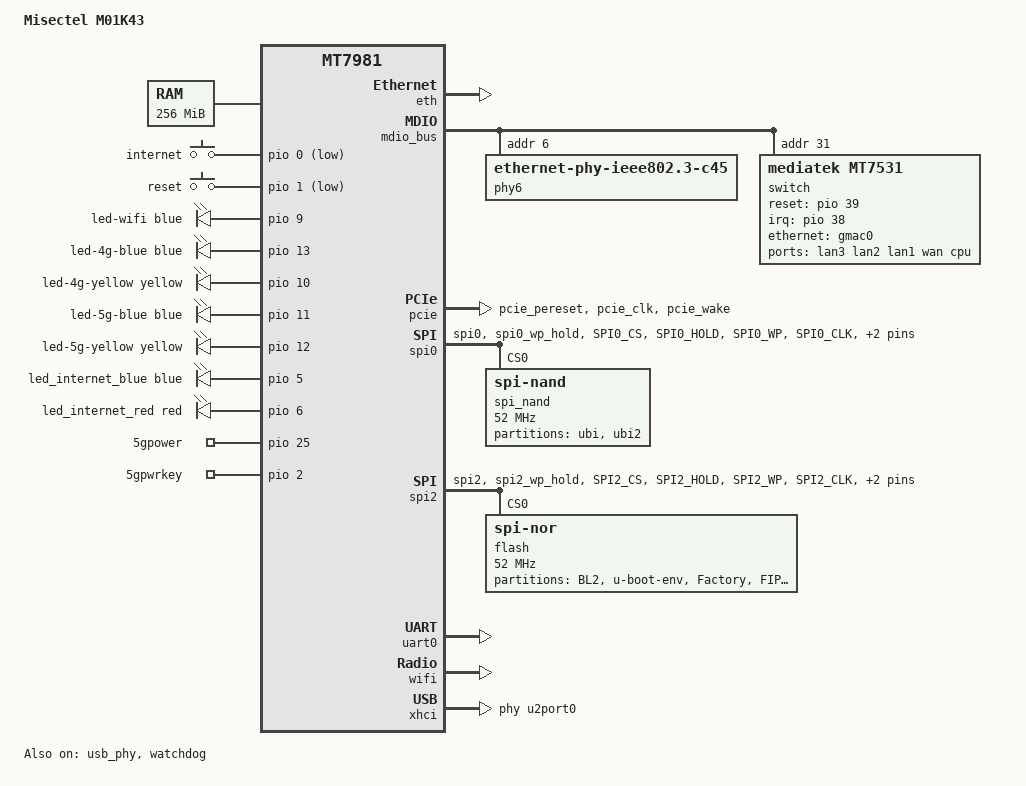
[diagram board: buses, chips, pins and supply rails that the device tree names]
// SPDX-License-Identifier: GPL-2.0-or-later OR MIT
/dts-v1/;

#include <dt-bindings/gpio/gpio.h>
#include <dt-bindings/input/input.h>
#include <dt-bindings/interrupt-controller/irq.h>
#include <dt-bindings/leds/common.h>
#include <dt-bindings/pinctrl/mt65xx.h>

#include "mt7981b.dtsi"

/ {
	model = "Misectel M01K43";
	compatible = "misectel,m01k43", "mediatek,mt7981";

	aliases {
		led-boot = &led_internet_blue;
		led-failsafe = &led_internet_red;
		led-running = &led_internet_blue;
		led-upgrade = &led_internet_red;
		label-mac-device = &gmac0;
		serial0 = &uart0;
	};

	chosen {
		stdout-path = "serial0:115200n8";
		bootargs-append = " ubi.mtd=ubi";
	};

	memory@40000000 {
		reg = <0 0x40000000 0 0x10000000>;
	};

	gpio-keys {
		compatible = "gpio-keys";

		button-internet {
			label = "internet";
			linux,code = <BTN_0>;
			linux,input-type = <EV_SW>;
			gpios = <&pio 0 GPIO_ACTIVE_LOW>;
		};

		button-reset {
			label = "reset";
			linux,code = <KEY_RESTART>;
			gpios = <&pio 1 GPIO_ACTIVE_LOW>;
		};
	};

	leds {
		compatible = "gpio-leds";

		led-wifi {
			color = <LED_COLOR_ID_BLUE>;
			function = LED_FUNCTION_WLAN;
			gpios = <&pio 9 GPIO_ACTIVE_HIGH>;
		};

		led-4g-blue {
			color = <LED_COLOR_ID_BLUE>;
			function = "4g";
			gpios = <&pio 13 GPIO_ACTIVE_HIGH>;
		};

		led-4g-yellow {
			color = <LED_COLOR_ID_YELLOW>;
			function = "4g";
			gpios = <&pio 10 GPIO_ACTIVE_HIGH>;
		};

		led-5g-blue {
			color = <LED_COLOR_ID_BLUE>;
			function = "5g";
			gpios = <&pio 11 GPIO_ACTIVE_HIGH>;
		};

		led-5g-yellow {
			color = <LED_COLOR_ID_YELLOW>;
			function = "5g";
			gpios = <&pio 12 GPIO_ACTIVE_HIGH>;
		};

		led_internet_blue: led-internet-blue {
			color = <LED_COLOR_ID_BLUE>;
			function = LED_FUNCTION_WAN;
			gpios = <&pio 5 GPIO_ACTIVE_HIGH>;
		};

		led_internet_red: led-internet-red {
			color = <LED_COLOR_ID_RED>;
			function = LED_FUNCTION_WAN;
			gpios = <&pio 6 GPIO_ACTIVE_HIGH>;
		};
	};

	gpio-export {
		compatible = "gpio-export";

		5gpower {
			gpio-export,name = "5gpower";
			gpio-export,output = <0>;
			gpios = <&pio 25 GPIO_ACTIVE_HIGH>;
		};

		5gpwrkey {
			gpio-export,name = "5gpwrkey";
			gpio-export,output = <0>;
			gpios = <&pio 2 GPIO_ACTIVE_HIGH>;
		};
	};
};

&eth {
	status = "okay";

	gmac0: mac@0 {
		compatible = "mediatek,eth-mac";
		reg = <0>;
		phy-mode = "2500base-x";

		nvmem-cell-names = "mac-address";
		nvmem-cells = <&macaddr_factory_4 0>;

		fixed-link {
			speed = <2500>;
			full-duplex;
			pause;
		};
	};
};

&mdio_bus {
	phy6: phy@6 {
		compatible = "ethernet-phy-ieee802.3-c45";
		reg = <6>;
		reset-assert-us = <15000>;
		reset-deassert-us = <68000>;
		realtek,aldps-enable;
		realtek,led-link-select = <0xa7 0xa7 0xa7>;
		realtek,led-act-select = <0x3515>;
	};

	switch: switch@1f {
		compatible = "mediatek,mt7531";
		reg = <31>;
		reset-gpios = <&pio 39 GPIO_ACTIVE_HIGH>;
		interrupt-controller;
		#interrupt-cells = <1>;
		interrupt-parent = <&pio>;
		interrupts = <38 IRQ_TYPE_LEVEL_HIGH>;
	};
};

&pcie {
	pinctrl-names = "default";
	pinctrl-0 = <&pcie_pins>;
	probe-delay-ms = <8000>;
	status = "okay";
};

&pio {
	pcie_pins: pcie-pins {
		mux {
			function = "pcie";
			groups = "pcie_pereset", "pcie_clk", "pcie_wake";
		};
	};

	spi0_flash_pins: spi0-pins {
		mux {
			function = "spi";
			groups = "spi0", "spi0_wp_hold";
		};

		conf-pu {
			pins = "SPI0_CS", "SPI0_HOLD", "SPI0_WP";
			drive-strength = <MTK_DRIVE_8mA>;
			bias-pull-up = <MTK_PUPD_SET_R1R0_11>;
		};

		conf-pd {
			pins = "SPI0_CLK", "SPI0_MOSI", "SPI0_MISO";
			drive-strength = <MTK_DRIVE_8mA>;
			bias-pull-down = <MTK_PUPD_SET_R1R0_11>;
		};
	};

	spi2_flash_pins: spi2-pins {
		mux {
			function = "spi";
			groups = "spi2", "spi2_wp_hold";
		};

		conf-pu {
			pins = "SPI2_CS", "SPI2_HOLD", "SPI2_WP";
			drive-strength = <MTK_DRIVE_8mA>;
			bias-pull-up = <MTK_PUPD_SET_R1R0_11>;
		};

		conf-pd {
			pins = "SPI2_CLK", "SPI2_MOSI", "SPI2_MISO";
			drive-strength = <MTK_DRIVE_8mA>;
			bias-pull-down = <MTK_PUPD_SET_R1R0_11>;
		};
	};
};

&spi0 {
	pinctrl-names = "default";
	pinctrl-0 = <&spi0_flash_pins>;
	status = "okay";

	spi_nand: flash@0 {
		compatible = "spi-nand";
		reg = <0>;
		spi-max-frequency = <52000000>;

		spi-tx-bus-width = <4>;
		spi-rx-bus-width = <4>;

		mediatek,nmbm;
		mediatek,bmt-max-ratio = <1>;
		mediatek,bmt-max-reserved-blocks = <64>;

		partitions {
			compatible = "fixed-partitions";
			#address-cells = <1>;
			#size-cells = <1>;

			ubi: partition@0 {
				label = "ubi";
				reg = <0x0 0x3800000>;
				compatible = "linux,ubi";
			};

			partition@3800000 {
				label = "ubi2";
				reg = <0x3800000 0x3800000>;
				compatible = "linux,ubi";
			};
		};
	};
};

&spi2 {
	pinctrl-names = "default";
	pinctrl-0 = <&spi2_flash_pins>;
	status = "okay";

	flash@0 {
		compatible = "jedec,spi-nor";
		reg = <0>;
		spi-max-frequency = <52000000>;
		spi-tx-bus-width = <4>;
		spi-rx-bus-width = <4>;

		partitions {
			compatible = "fixed-partitions";
			#address-cells = <1>;
			#size-cells = <1>;

			partition@0 {
				label = "BL2";
				reg = <0x0 0x40000>;
				read-only;
			};

			partition@40000 {
				label = "u-boot-env";
				reg = <0x40000 0x10000>;
			};

			factory: partition@50000 {
				label = "Factory";
				reg = <0x50000 0xb0000>;
				read-only;

				nvmem-layout {
					compatible = "fixed-layout";
					#address-cells = <1>;
					#size-cells = <1>;

					eeprom_factory_0: eeprom@0 {
						reg = <0x0 0x1000>;
					};

					macaddr_factory_4: macaddr@4 {
						compatible = "mac-base";
						reg = <0x4 0x6>;
						#nvmem-cell-cells = <1>;
					};
				};
			};

			partition@100000 {
				label = "FIP";
				reg = <0x100000 0x200000>;
				read-only;
			};

			partition@300000 {
				label = "woem";
				reg = <0x300000 0x10000>;
				read-only;
			};

			partition@310000 {
				label = "ledeinfo";
				reg = <0x310000 0x10000>;
			};

			partition@320000 {
				label = "nvram";
				reg = <0x320000 0x10000>;
				read-only;
			};
		};
	};
};

&switch {
	ports {
		#address-cells = <1>;
		#size-cells = <0>;

		port@1 {
			reg = <1>;
			label = "lan3";
			nvmem-cell-names = "mac-address";
			nvmem-cells = <&macaddr_factory_4 0>;
		};

		port@2 {
			reg = <2>;
			label = "lan2";
			nvmem-cell-names = "mac-address";
			nvmem-cells = <&macaddr_factory_4 0>;
		};

		port@3 {
			reg = <3>;
			label = "lan1";
			nvmem-cell-names = "mac-address";
			nvmem-cells = <&macaddr_factory_4 0>;
		};

		port@5 {
			reg = <5>;
			label = "wan";
			phy-handle = <&phy6>;
			phy-mode = "2500base-x";

			nvmem-cell-names = "mac-address";
			nvmem-cells = <&macaddr_factory_4 1>;
		};

		port@6 {
			reg = <6>;
			label = "cpu";
			ethernet = <&gmac0>;
			phy-mode = "2500base-x";

			fixed-link {
				speed = <2500>;
				full-duplex;
				pause;
			};
		};
	};
};

&uart0 {
	status = "okay";
};

&usb_phy {
	status = "okay";
};

&watchdog {
	status = "okay";
};

&wifi {
	nvmem-cells = <&eeprom_factory_0>;
	nvmem-cell-names = "eeprom";
	status = "okay";
};

&xhci {
	phys = <&u2port0 PHY_TYPE_USB2>;
	mediatek,u3p-dis-msk = <0x01>;
	status = "okay";
};
